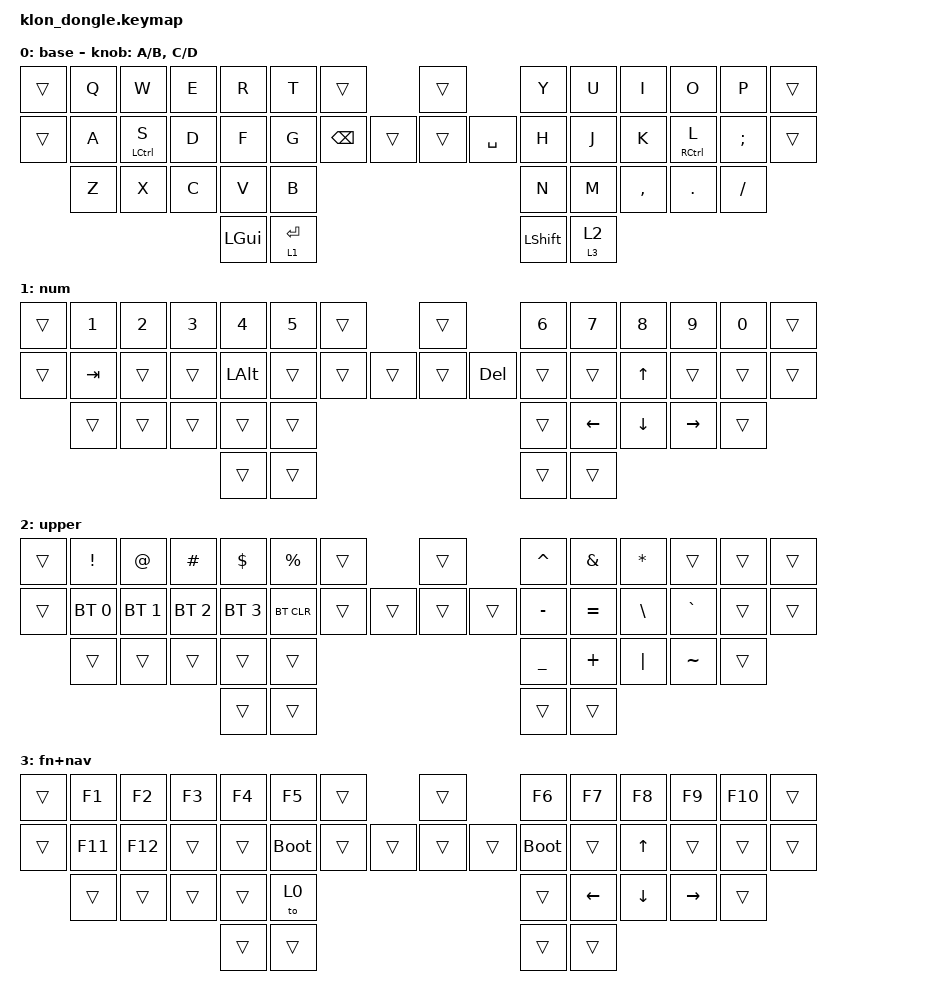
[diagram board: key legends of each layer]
#include <behaviors.dtsi>
#include <dt-bindings/zmk/bt.h>
#include <dt-bindings/zmk/keys.h>
#include "zmk-helpers/helper.h"
#include "zmk-helpers/key-labels/36.h"

/ {
    behaviors {
        /* Left-hand HRMs. */

        hml: hml {
            compatible = "zmk,behavior-hold-tap";
            label = "HML";
            #binding-cells = <2>;
            flavor = "balanced";
            tapping-term-ms = <280>;
            quick-tap-ms = <175>;
            require-prior-idle-ms = <150>;
            bindings = <&kp>, <&kp>;

            hold-trigger-key-positions = <0 14 15 16 19 20 21 30 31 32 33 34 40 41 0 1 2 3 4 5 14 15 16 17 18 19 30 31 32 33 34 40 41 22 23 42 43>;
            hold-trigger-on-release;
        };

        /* Right-hand HRMs. */

        hmr: hmr {
            compatible = "zmk,behavior-hold-tap";
            label = "HMR";
            #binding-cells = <2>;
            flavor = "balanced";
            tapping-term-ms = <280>;
            quick-tap-ms = <175>;
            require-prior-idle-ms = <150>;
            bindings = <&kp>, <&kp>;

            hold-trigger-key-positions = <8 9 10 11 12 13 22 23 24 25 26 27 28 29 35 36 37 38 39 42 43 21 20 41 40>;
            hold-trigger-on-release;
        };

        sh: sticky_hold {
            compatible = "zmk,behavior-hold-tap";
            label = "SH";
            bindings = <&mo>, <&sl>;

            #binding-cells = <2>;
            tapping-term-ms = <300>;
            quick-tap-ms = <0>;
            flavor = "tap-preferred";
        };
    };

    combos {
        compatible = "zmk,combos";

        par1 {
            bindings = <&kp LEFT_PARENTHESIS>;
            key-positions = <3 4>;
            layers = <0>;
        };

        par2 {
            bindings = <&kp RIGHT_PARENTHESIS>;
            key-positions = <9 10>;
            layers = <0>;
        };

        cur1 {
            bindings = <&kp LEFT_BRACE>;
            key-positions = <32 33>;
            layers = <0>;
        };

        cur2 {
            bindings = <&kp RIGHT_BRACE>;
            key-positions = <37 36>;
            layers = <0>;
        };

        bracket1 {
            bindings = <&kp LEFT_BRACKET>;
            key-positions = <17 18>;
            layers = <0>;
        };

        bracket2 {
            bindings = <&kp RIGHT_BRACKET>;
            key-positions = <25 26>;
            layers = <0>;
        };

        esc {
            bindings = <&kp ESCAPE>;
            key-positions = <1 2>;
            layers = <0>;
        };

        quotes {
            bindings = <&kp SINGLE_QUOTE>;
            key-positions = <28 27>;
            layers = <0>;
        };

        enter {
            bindings = <&kp ENTER>;
            key-positions = <25 26 27>;
            layers = <0>;
        };

        lower {
            bindings = <&mo 0>;
            key-positions = <37 36 38>;
            layers = <0>;
        };

        shift {
            bindings = <&kp LEFT_SHIFT>;
            key-positions = <18 17 16>;
            layers = <0>;
        };

        alt {
            bindings = <&kp LALT>;
            key-positions = <33 32 31>;
            layers = <0>;
        };
    };

    keymap {
        compatible = "zmk,keymap";

        base {
            bindings = <
&trans  &kp Q  &kp W         &kp E  &kp R     &kp T        &trans            &trans             &kp Y      &kp U    &kp I      &kp O         &kp P     &trans
&trans  &kp A  &hml LCTRL S  &kp D  &kp F     &kp G        &kp BSPC  &trans  &trans  &kp SPACE  &kp H      &kp J    &kp K      &hmr RCTRL L  &kp SEMI  &trans
        &kp Z  &kp X         &kp C  &kp V     &kp B                                             &kp N      &kp M    &kp COMMA  &kp DOT       &kp FSLH
                                    &kp LGUI  &lt 1 ENTER                                       &kp LSHFT  &sh 3 2
            >;

            sensor-bindings = <&inc_dec_kp A B &inc_dec_kp C D>;
        };

        num {
            bindings = <
&trans  &kp N1   &kp N2  &kp N3  &kp N4    &kp N5  &trans          &trans           &kp N6  &kp N7    &kp N8    &kp N9     &kp N0  &trans
&trans  &kp TAB  &trans  &trans  &kp LALT  &trans  &trans  &trans  &trans  &kp DEL  &trans  &trans    &kp UP    &trans     &trans  &trans
        &trans   &trans  &trans  &trans    &trans                                   &trans  &kp LEFT  &kp DOWN  &kp RIGHT  &trans
                                 &trans    &trans                                   &trans  &trans
            >;
        };

        upper {
            bindings = <
&trans  &kp EXCLAMATION  &kp AT        &kp HASH      &kp DOLLAR    &kp PERCENT  &trans          &trans          &kp CARET  &kp AMPERSAND  &kp ASTERISK  &trans     &trans  &trans
&trans  &bt BT_SEL 0     &bt BT_SEL 1  &bt BT_SEL 2  &bt BT_SEL 3  &bt BT_CLR   &trans  &trans  &trans  &trans  &kp MINUS  &kp EQUAL      &kp BSLH      &kp GRAVE  &trans  &trans
        &trans           &trans        &trans        &trans        &trans                                       &kp UNDER  &kp PLUS       &kp PIPE      &kp TILDE  &trans
                                                     &trans        &trans                                       &trans     &trans
            >;
        };

        fn+nav {
            bindings = <
&trans  &kp F1   &kp F2   &kp F3  &kp F4  &kp F5       &trans          &trans          &kp F6       &kp F7    &kp F8    &kp F9     &kp F10  &trans
&trans  &kp F11  &kp F12  &trans  &trans  &bootloader  &trans  &trans  &trans  &trans  &bootloader  &trans    &kp UP    &trans     &trans   &trans
        &trans   &trans   &trans  &trans  &to 0                                        &trans       &kp LEFT  &kp DOWN  &kp RIGHT  &trans
                                  &trans  &trans                                       &trans       &trans
            >;
        };
    };
};
